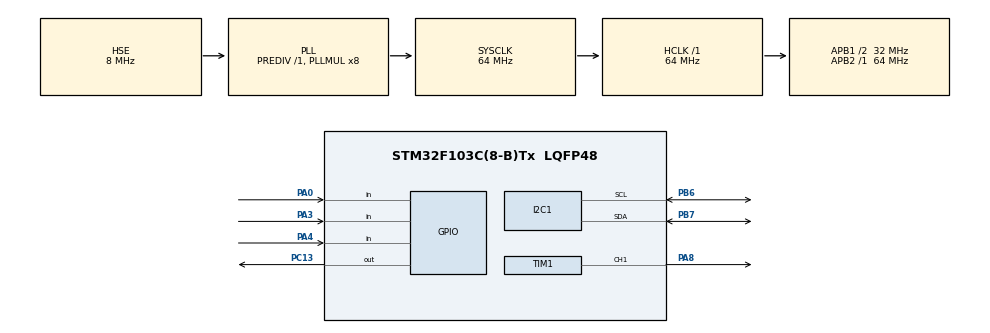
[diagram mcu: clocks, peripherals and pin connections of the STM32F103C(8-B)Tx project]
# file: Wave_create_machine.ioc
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Mcu.Family=STM32F1
Mcu.Name=STM32F103C(8-B)Tx
Mcu.Package=LQFP48
NVIC.PriorityGroup=NVIC_PRIORITYGROUP_4
PA0-WKUP.GPIO_PuPd=GPIO_PULLUP
PA0-WKUP.Signal=GPIO_Input
PA13.Mode=Serial_Wire
PA13.Signal=SYS_JTMS-SWDIO
PA14.Mode=Serial_Wire
PA14.Signal=SYS_JTCK-SWCLK
PA3.Signal=GPIO_Input
PA4.GPIO_PuPd=GPIO_NOPULL
PA4.Signal=GPIO_Input
PA8.Signal=S_TIM1_CH1
PB6.Mode=I2C
PB6.Signal=I2C1_SCL
PB7.Mode=I2C
PB7.Signal=I2C1_SDA
PC13-TAMPER-RTC.Signal=GPIO_Output
PD0-OSC_IN.Mode=HSE-External-Oscillator
PD0-OSC_IN.Signal=RCC_OSC_IN
PD1-OSC_OUT.Mode=HSE-External-Oscillator
PD1-OSC_OUT.Signal=RCC_OSC_OUT
ProjectManager.HeapSize=0x200
ProjectManager.StackSize=0x400
ProjectManager.TargetToolchain=MDK-ARM V5.32
RCC.AHBFreq_Value=64000000
RCC.APB1CLKDivider=RCC_HCLK_DIV2
RCC.APB1Freq_Value=32000000
RCC.APB1TimFreq_Value=64000000
RCC.APB2Freq_Value=64000000
RCC.APB2TimFreq_Value=64000000
RCC.HCLKFreq_Value=64000000
RCC.PLLMUL=RCC_PLL_MUL8
RCC.PLLSourceVirtual=RCC_PLLSOURCE_HSE
RCC.SYSCLKFreq_VALUE=64000000
RCC.SYSCLKSource=RCC_SYSCLKSOURCE_PLLCLK
RCC.USBFreq_Value=64000000
SH.S_TIM1_CH1.0=TIM1_CH1,PWM Generation1 CH1
TIM1.Channel-PWM\ Generation1\ CH1=TIM_CHANNEL_1
VP_TIM1_VS_ClockSourceINT.Mode=Internal
board=custom

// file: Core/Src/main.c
/* USER CODE BEGIN Header */
/**
  ******************************************************************************
  * @file           : main.c
  * @brief          : Main program body
  ******************************************************************************
  * @attention
  *
  * Copyright (c) 2024 STMicroelectronics.
  * All rights reserved.
  *
  * This software is licensed under terms that can be found in the LICENSE file
  * in the root directory of this software component.
  * If no LICENSE file comes with this software, it is provided AS-IS.
  *
  ******************************************************************************
  */
/* USER CODE END Header */
#include "main.h"

/* USER CODE BEGIN Includes */
#include "LyquidCrystal_I2C.h"
#include "Button.h"
/* USER CODE END Includes */

I2C_HandleTypeDef hi2c1;

TIM_HandleTypeDef htim1;

/* USER CODE BEGIN PV */
Button_handle button1;
/* USER CODE END PV */

void SystemClock_Config(void);
static void MX_GPIO_Init(void);
static void MX_I2C1_Init(void);
static void MX_TIM1_Init(void);

/* USER CODE BEGIN 0 */
LiquidCrystal_I2C hlcd;

uint8_t cnt =0 ;
uint8_t cusor = 0;
int8_t cw =0;
uint8_t place =0;
int8_t number[8] ={0,0,0,0,0,0,0,0};

int8_t so = 0;
uint8_t count =0;

uint8_t a;
uint8_t in =0;

uint8_t a_state;
uint8_t a_state_bandau;

uint32_t freq = 16000000;
uint8_t duty = 0;

int32_t frequency;
int8_t duty_cycle;

uint8_t F[8] = {0,0,0,0,0,0,0,0};
uint8_t D[2] = {0,0};

uint32_t time;

uint8_t num_xoay()
{
		a_state =  HAL_GPIO_ReadPin(GPIOA, GPIO_PIN_3);
		if(a_state != a_state_bandau)
		{
			if(a_state != HAL_GPIO_ReadPin(GPIOA, GPIO_PIN_4))
			{
				cw++;
				if(cw >=1 ) cw = 1;
				if(a == 0)
				{
					if(in == 0)
					{
					place ++;
					}
					else
					{
						switch(place)
						{
							case 0:
							number[0] ++;
							if(number[0] > 1)
							{
								number[0] = 0;
							}
							break;
							case 1:
							number[1] ++;
							if(number[1] > 6)
							{
								number[1] = 0;
							}
							break;
							case 2:
							number[2] ++;
							if(number[2] > 9)
							{
								number[2] = 0;
							}
							break;
							case 3:
							number[3] ++;
							if(number[3] > 9)
							{
								number[3] = 0;
							}
							break;
							case 4:
							number[4] ++;
							if(number[4] > 9)
							{
								number[4] = 0;
							}
							break;
							case 5:
							number[5] ++;
							if(number[5] > 9)
							{
								number[5] = 0;
							}
							break;
							case 6:
							number[6] ++;
							if(number[6] > 9)
							{
								number[6] = 0;
							}
							break;
							case 7:
							number[7] ++;
							if(number[7] > 9)
							{
								number[7] = 0;
							}
							break;
						}
					}
				}
				else
				{
					so++;
					if(so > 100)
					{
						so = 0;
					}
				}

			}
			else
			{
				cw --;
				if(cw < 1) cw = 0;
				if(a == 0)
				{
					if(in == 0)
					{
					place --;
					}
					else
					{
						switch(place)
						{
							case 0:
								number[0] --;
								if(number[0] < 0)
								{
									number[0] = 1;
								}
								break;
							case 1:
								number[1] --;
								if(number[1] < 0)
								{
									number[1] = 6;
								}
								break;
							case 2:
								number[2] --;
								if(number[2] < 0)
								{
									number[2] = 9;
								}
								break;
							case 3:
								number[3] --;
								if(number[3] < 0)
								{
									number[3] = 9;
								}
								break;
							case 4:
								number[4] --;
								if(number[4] < 0)
								{
									number[4] = 9;
								}
								break;
							case 5:
								number[5] --;
								if(number[5] < 0)
								{
									number[5] = 9;
								}
								break;
							case 6:
								number[6] --;
								if(number[6] < 0)
								{
									number[6] = 9;
								}
								break;
							case 7:
								number[7] --;
								if(number[7] < 0)
								{
									number[7] = 9;
								}
								break;
						}
					}
				}
				else
				{
					so --;
					if(so < 0)
					{
						so = 100;
					}
				}

			}
		}
		a_state_bandau = a_state;
		return cw;
}

void button_pressing_callback()
{
	switch(cnt)
	{
		case 0:
			cnt ++;
			count ++;
			break;
		case 1:
			cnt ++;
			lcd_clear_display(&hlcd);
			break;
		case 2:
			cnt ++;
			lcd_clear_display(&hlcd);
			break;
		case 3:
			if(in == 0)
			{
				in ++;
			}
			else if(in ==1)
			{
				in --;
			}
			break;
	}
}

void button_press_long_callback()
{
	lcd_clear_display(&hlcd);
	lcd_set_cursor(&hlcd, 0, 0);
	lcd_printf(&hlcd, "complete");
	lcd_set_cursor_off(&hlcd);
	if(cnt !=0)
	{
		cnt = 0;
	}
	frequency = F[7]+10*F[6]+100*F[5]+1000*F[4]+10000*F[3]+100000*F[2]+1000000*F[1]+10000000*F[0];
	TIM1->ARR = 64000000/frequency;
}

void lcd_screen(uint8_t cnt)
{

	switch(cnt)
	{
		case 1:
			if(count == 1)
			{
			lcd_clear_display(&hlcd);
			count ++;
			}
			lcd_set_cursor(&hlcd, 0, 0);
			lcd_printf(&hlcd, "F: %d%d%d%d%d%d%d%d", F[0],F[1],F[2],F[3],F[4],F[5],F[6],F[7]);
			lcd_set_cursor(&hlcd, 1, 0);
			lcd_printf(&hlcd, "Duty: %02d %c", duty,'%');
		break;
		case 2:
			num_xoay();
			if(cw == 0)
			{
				lcd_set_cursor(&hlcd, 0, 0);
				lcd_printf(&hlcd, "F:");
				lcd_set_cursor(&hlcd, 1, 0);
				lcd_printf(&hlcd, "Duty:");
				lcd_set_cursor(&hlcd, 0, 9);
				lcd_printf(&hlcd, "*");
				lcd_set_cursor(&hlcd, 1, 9);
				lcd_printf(&hlcd, " ");
				time = HAL_GetTick();
				while((HAL_GetTick() - time) < 5);
			}
			else if(cw == 1)
			{
				lcd_set_cursor(&hlcd, 0, 0);
				lcd_printf(&hlcd, "F:");
				lcd_set_cursor(&hlcd, 1, 0);
				lcd_printf(&hlcd, "Duty:");
				lcd_set_cursor(&hlcd, 0, 9);
				lcd_printf(&hlcd, " ");
				lcd_set_cursor(&hlcd, 1, 9);
				lcd_printf(&hlcd, "*");
				time = HAL_GetTick();
				while((HAL_GetTick() - time) < 5);

			}
			a = cw;
		break;
		case 3:
				if(a == 0)
				{
						lcd_clear_display(&hlcd);
						lcd_set_cursor(&hlcd, 0, 0);
						lcd_printf(&hlcd, "Freq: %d%d%d%d%d%d%d%d", F[0], F[1], F[2], F[3], F[4], F[5], F[6],F[7]);
						num_xoay();
						lcd_set_cursor(&hlcd, 1, place + 6);
						lcd_set_cursor_on(&hlcd);
						if(place >7)
						{
							place = 0;
						}
							switch(place)
							{
								case 0:
									F[0] = number[0];
									break;
								case 1:
									F[1] = number[1];
									break;
								case 2:
									F[2] = number[2];
									break;
								case 3:
									F[3] = number[3];
									break;
								case 4:
									F[4] = number[4];
									break;
								case 5:
									F[5] = number[5];
									break;
								case 6:
									F[6] = number[6];
									break;
								case 7:
									F[7] = number[7];
									break;
						}
						time = HAL_GetTick();
						while((HAL_GetTick() - time) < 15);
				}
				else if(a == 1)
				{
						lcd_set_cursor(&hlcd, 0, 0);
						lcd_printf(&hlcd, "Duty : %03d %c", duty, '%');
						num_xoay();
						duty = so;
						TIM1->CCR1 = (TIM1->ARR * duty)/100;
						time = HAL_GetTick();
						while((HAL_GetTick() - time) < 5);
				}
			break;
	}
}
/* USER CODE END 0 */

int main(void)
{

  /* MCU Configuration--------------------------------------------------------*/

  /* Reset of all peripherals, Initializes the Flash interface and the Systick. */
  HAL_Init();

  /* Configure the system clock */
  SystemClock_Config();

  /* Initialize all configured peripherals */
  MX_GPIO_Init();
  MX_I2C1_Init();
  MX_TIM1_Init();
  /* USER CODE BEGIN 2 */
	lcd_init(&hlcd, &hi2c1, LCD_ADDR_DEFAULT);
	Button_Init(&button1, GPIOA, GPIO_PIN_0);

	lcd_set_cursor(&hlcd, 0,0);
	lcd_printf(&hlcd, "Hello");
	lcd_set_cursor(&hlcd, 1,0);
	lcd_printf(&hlcd, "Wave_machine");
	HAL_Delay(1500);
	lcd_clear_display(&hlcd);
	a_state_bandau = HAL_GPIO_ReadPin(GPIOA, GPIO_PIN_3);
	a = 0;
	HAL_TIM_PWM_Start(&htim1,TIM_CHANNEL_1);
  /* USER CODE END 2 */

  /* Infinite loop */
  while (1)
  {

    /* USER CODE BEGIN 3 */
		button_handle(&button1);
		lcd_screen(cnt);
  }
  /* USER CODE END 3 */
}

void SystemClock_Config(void)
{
  RCC_OscInitTypeDef RCC_OscInitStruct = {0};
  RCC_ClkInitTypeDef RCC_ClkInitStruct = {0};

  /** Initializes the RCC Oscillators according to the specified parameters
  * in the RCC_OscInitTypeDef structure.
  */
  RCC_OscInitStruct.OscillatorType = RCC_OSCILLATORTYPE_HSE;
  RCC_OscInitStruct.HSEState = RCC_HSE_ON;
  RCC_OscInitStruct.HSEPredivValue = RCC_HSE_PREDIV_DIV1;
  RCC_OscInitStruct.HSIState = RCC_HSI_ON;
  RCC_OscInitStruct.PLL.PLLState = RCC_PLL_ON;
  RCC_OscInitStruct.PLL.PLLSource = RCC_PLLSOURCE_HSE;
  RCC_OscInitStruct.PLL.PLLMUL = RCC_PLL_MUL8;
  if (HAL_RCC_OscConfig(&RCC_OscInitStruct) != HAL_OK)
  {
    Error_Handler();
  }

  /** Initializes the CPU, AHB and APB buses clocks
  */
  RCC_ClkInitStruct.ClockType = RCC_CLOCKTYPE_HCLK|RCC_CLOCKTYPE_SYSCLK
                              |RCC_CLOCKTYPE_PCLK1|RCC_CLOCKTYPE_PCLK2;
  RCC_ClkInitStruct.SYSCLKSource = RCC_SYSCLKSOURCE_PLLCLK;
  RCC_ClkInitStruct.AHBCLKDivider = RCC_SYSCLK_DIV1;
  RCC_ClkInitStruct.APB1CLKDivider = RCC_HCLK_DIV2;
  RCC_ClkInitStruct.APB2CLKDivider = RCC_HCLK_DIV1;

  if (HAL_RCC_ClockConfig(&RCC_ClkInitStruct, FLASH_LATENCY_2) != HAL_OK)
  {
    Error_Handler();
  }
}

static void MX_I2C1_Init(void)
{

  hi2c1.Instance = I2C1;
  hi2c1.Init.ClockSpeed = 100000;
  hi2c1.Init.DutyCycle = I2C_DUTYCYCLE_2;
  hi2c1.Init.OwnAddress1 = 0;
  hi2c1.Init.AddressingMode = I2C_ADDRESSINGMODE_7BIT;
  hi2c1.Init.DualAddressMode = I2C_DUALADDRESS_DISABLE;
  hi2c1.Init.OwnAddress2 = 0;
  hi2c1.Init.GeneralCallMode = I2C_GENERALCALL_DISABLE;
  hi2c1.Init.NoStretchMode = I2C_NOSTRETCH_DISABLE;
  if (HAL_I2C_Init(&hi2c1) != HAL_OK)
  {
    Error_Handler();
  }

}

static void MX_TIM1_Init(void)
{

  TIM_ClockConfigTypeDef sClockSourceConfig = {0};
  TIM_MasterConfigTypeDef sMasterConfig = {0};
  TIM_OC_InitTypeDef sConfigOC = {0};
  TIM_BreakDeadTimeConfigTypeDef sBreakDeadTimeConfig = {0};

  htim1.Instance = TIM1;
  htim1.Init.Prescaler = 0;
  htim1.Init.CounterMode = TIM_COUNTERMODE_UP;
  htim1.Init.Period = 65535;
  htim1.Init.ClockDivision = TIM_CLOCKDIVISION_DIV1;
  htim1.Init.RepetitionCounter = 0;
  htim1.Init.AutoReloadPreload = TIM_AUTORELOAD_PRELOAD_DISABLE;
  if (HAL_TIM_Base_Init(&htim1) != HAL_OK)
  {
    Error_Handler();
  }
  sClockSourceConfig.ClockSource = TIM_CLOCKSOURCE_INTERNAL;
  if (HAL_TIM_ConfigClockSource(&htim1, &sClockSourceConfig) != HAL_OK)
  {
    Error_Handler();
  }
  if (HAL_TIM_PWM_Init(&htim1) != HAL_OK)
  {
    Error_Handler();
  }
  sMasterConfig.MasterOutputTrigger = TIM_TRGO_RESET;
  sMasterConfig.MasterSlaveMode = TIM_MASTERSLAVEMODE_DISABLE;
  if (HAL_TIMEx_MasterConfigSynchronization(&htim1, &sMasterConfig) != HAL_OK)
  {
    Error_Handler();
  }
  sConfigOC.OCMode = TIM_OCMODE_PWM1;
  sConfigOC.Pulse = 0;
  sConfigOC.OCPolarity = TIM_OCPOLARITY_HIGH;
  sConfigOC.OCNPolarity = TIM_OCNPOLARITY_HIGH;
  sConfigOC.OCFastMode = TIM_OCFAST_DISABLE;
  sConfigOC.OCIdleState = TIM_OCIDLESTATE_RESET;
  sConfigOC.OCNIdleState = TIM_OCNIDLESTATE_RESET;
  if (HAL_TIM_PWM_ConfigChannel(&htim1, &sConfigOC, TIM_CHANNEL_1) != HAL_OK)
  {
    Error_Handler();
  }
  sBreakDeadTimeConfig.OffStateRunMode = TIM_OSSR_DISABLE;
  sBreakDeadTimeConfig.OffStateIDLEMode = TIM_OSSI_DISABLE;
  sBreakDeadTimeConfig.LockLevel = TIM_LOCKLEVEL_OFF;
  sBreakDeadTimeConfig.DeadTime = 0;
  sBreakDeadTimeConfig.BreakState = TIM_BREAK_DISABLE;
  sBreakDeadTimeConfig.BreakPolarity = TIM_BREAKPOLARITY_HIGH;
  sBreakDeadTimeConfig.AutomaticOutput = TIM_AUTOMATICOUTPUT_DISABLE;
  if (HAL_TIMEx_ConfigBreakDeadTime(&htim1, &sBreakDeadTimeConfig) != HAL_OK)
  {
    Error_Handler();
  }
  HAL_TIM_MspPostInit(&htim1);

}

static void MX_GPIO_Init(void)
{
  GPIO_InitTypeDef GPIO_InitStruct = {0};

  /* GPIO Ports Clock Enable */
  __HAL_RCC_GPIOC_CLK_ENABLE();
  __HAL_RCC_GPIOD_CLK_ENABLE();
  __HAL_RCC_GPIOA_CLK_ENABLE();
  __HAL_RCC_GPIOB_CLK_ENABLE();

  /*Configure GPIO pin Output Level */
  HAL_GPIO_WritePin(GPIOC, GPIO_PIN_13, GPIO_PIN_RESET);

  /*Configure GPIO pin : PC13 */
  GPIO_InitStruct.Pin = GPIO_PIN_13;
  GPIO_InitStruct.Mode = GPIO_MODE_OUTPUT_PP;
  GPIO_InitStruct.Pull = GPIO_NOPULL;
  GPIO_InitStruct.Speed = GPIO_SPEED_FREQ_LOW;
  HAL_GPIO_Init(GPIOC, &GPIO_InitStruct);

  /*Configure GPIO pin : PA0 */
  GPIO_InitStruct.Pin = GPIO_PIN_0;
  GPIO_InitStruct.Mode = GPIO_MODE_INPUT;
  GPIO_InitStruct.Pull = GPIO_PULLUP;
  HAL_GPIO_Init(GPIOA, &GPIO_InitStruct);

  /*Configure GPIO pins : PA3 PA4 */
  GPIO_InitStruct.Pin = GPIO_PIN_3|GPIO_PIN_4;
  GPIO_InitStruct.Mode = GPIO_MODE_INPUT;
  GPIO_InitStruct.Pull = GPIO_NOPULL;
  HAL_GPIO_Init(GPIOA, &GPIO_InitStruct);

}

void Error_Handler(void)
{
  __disable_irq();
  while (1)
  {
  }
}
